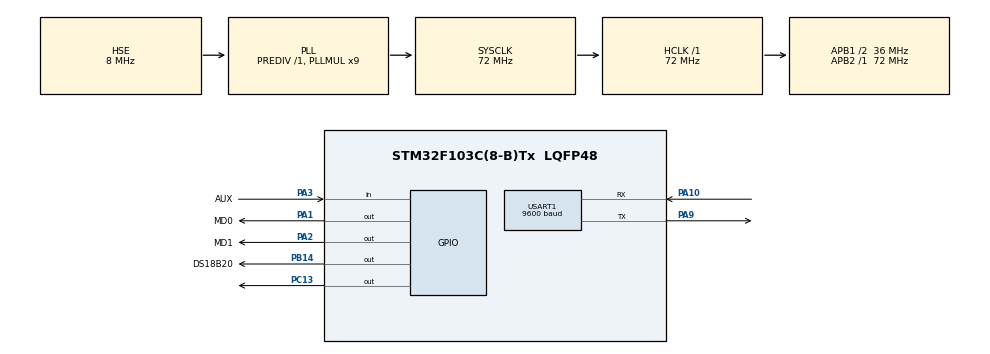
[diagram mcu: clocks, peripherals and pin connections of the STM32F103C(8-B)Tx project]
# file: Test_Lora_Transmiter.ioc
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Mcu.Family=STM32F1
Mcu.Name=STM32F103C(8-B)Tx
Mcu.Package=LQFP48
NVIC.PriorityGroup=NVIC_PRIORITYGROUP_4
NVIC.USART1_IRQn=true\:0\:0\:false\:false\:true\:true\:true\:true
PA1.GPIO_Label=MD0
PA1.Signal=GPIO_Output
PA10.Mode=Asynchronous
PA10.Signal=USART1_RX
PA13.Mode=Serial_Wire
PA13.Signal=SYS_JTMS-SWDIO
PA14.Mode=Serial_Wire
PA14.Signal=SYS_JTCK-SWCLK
PA2.GPIO_Label=MD1
PA2.Signal=GPIO_Output
PA3.GPIO_Label=AUX
PA3.Signal=GPIO_Input
PA9.Mode=Asynchronous
PA9.Signal=USART1_TX
PB14.GPIO_Label=DS18B20
PB14.Signal=GPIO_Output
PC13-TAMPER-RTC.Signal=GPIO_Output
PD0-OSC_IN.Mode=HSE-External-Oscillator
PD0-OSC_IN.Signal=RCC_OSC_IN
PD1-OSC_OUT.Mode=HSE-External-Oscillator
PD1-OSC_OUT.Signal=RCC_OSC_OUT
ProjectManager.HeapSize=0x200
ProjectManager.StackSize=0x400
ProjectManager.TargetToolchain=STM32CubeIDE
RCC.AHBFreq_Value=72000000
RCC.APB1CLKDivider=RCC_HCLK_DIV2
RCC.APB1Freq_Value=36000000
RCC.APB1TimFreq_Value=72000000
RCC.APB2Freq_Value=72000000
RCC.APB2TimFreq_Value=72000000
RCC.HCLKFreq_Value=72000000
RCC.PLLMUL=RCC_PLL_MUL9
RCC.PLLSourceVirtual=RCC_PLLSOURCE_HSE
RCC.SYSCLKFreq_VALUE=72000000
RCC.SYSCLKSource=RCC_SYSCLKSOURCE_PLLCLK
RCC.USBFreq_Value=72000000
TIM1.Period=0xFFFF-1
TIM1.Prescaler=72-1
TIM4.Period=0xFFFF-1
TIM4.Prescaler=72-1
USART1.BaudRate=9600
USART1.VirtualMode=VM_ASYNC
VP_TIM1_VS_ClockSourceINT.Mode=Internal
VP_TIM4_VS_ClockSourceINT.Mode=Internal
board=custom

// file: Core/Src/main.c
/* USER CODE BEGIN Header */
/**
  ******************************************************************************
  * @file           : main.c
  * @brief          : Main program body
  ******************************************************************************
  * @attention
  *
  * Copyright (c) 2022 STMicroelectronics.
  * All rights reserved.
  *
  * This software is licensed under terms that can be found in the LICENSE file
  * in the root directory of this software component.
  * If no LICENSE file comes with this software, it is provided AS-IS.
  *
  ******************************************************************************
  */
/* USER CODE END Header */
#include "main.h"

/* USER CODE BEGIN Includes */
#include "stdio.h"
#include "string.h"
#include "DS18B20.h"
#include "math.h"
/* USER CODE END Includes */

/* USER CODE BEGIN PTD */
typedef enum option_t{
	TRANSPARENT,
	POINT2POINT
} option_t;

typedef enum e32_lora_mode_t{
	GENERAL,
	POWER_SAVING,
	WAKE_UP,
	SLEEP
} e32_lora_mode_t;

typedef enum set_mode_state_t{
	SUCCESSED,
	FAILED
} set_mode_state_t;

/* USER CODE END PTD */

 TIM_HandleTypeDef htim1;
TIM_HandleTypeDef htim4;

UART_HandleTypeDef huart1;

/* USER CODE BEGIN PV */
	float temp;
	DS18B20_Name DS1;
	uint8_t temp_tenth, temp_unit, temp_decimal;

	set_mode_state_t state;
/* USER CODE END PV */

void SystemClock_Config(void);
static void MX_GPIO_Init(void);
static void MX_USART1_UART_Init(void);
static void MX_TIM1_Init(void);
static void MX_TIM4_Init(void);

/* USER CODE BEGIN 0 */

set_mode_state_t set_mode_e32_lora(e32_lora_mode_t mode,
					   GPIO_TypeDef *GPIOx_AUX, uint16_t GPIO_Pin_AUX,
					   GPIO_TypeDef *GPIOx_M0, uint16_t GPIO_Pin_M0,
					   GPIO_TypeDef *GPIOx_M1, uint16_t GPIO_Pin_M1
						)
{
	GPIO_PinState idle = HAL_GPIO_ReadPin(GPIOx_AUX, GPIO_Pin_AUX);
	/* Check idle state of module  */
	while(idle != GPIO_PIN_SET) // busy
	{

	};
	HAL_Delay(5);

	/* Set mode */
	if(idle == GPIO_PIN_SET)
	{
		switch(mode)
			{
				case GENERAL:
					HAL_GPIO_WritePin(GPIOx_M1, GPIO_Pin_M1, GPIO_PIN_RESET); // M1 = 0
					HAL_GPIO_WritePin(GPIOx_M0, GPIO_Pin_M0, GPIO_PIN_RESET); // M0 = 0
					HAL_Delay(10);

					break;
				case POWER_SAVING:
					HAL_GPIO_WritePin(GPIOx_M1, GPIO_Pin_M1, GPIO_PIN_RESET);// M1 = 0
					HAL_GPIO_WritePin(GPIOx_M0, GPIO_Pin_M0, GPIO_PIN_SET); // M0 = 1
					HAL_Delay(10);
					break;
				case WAKE_UP:
					HAL_GPIO_WritePin(GPIOx_M1, GPIO_Pin_M1, GPIO_PIN_SET); // M1 = 1
					HAL_GPIO_WritePin(GPIOx_M0, GPIO_Pin_M0, GPIO_PIN_RESET); // M0 = 0
					HAL_Delay(10);
					break;
				case SLEEP:
					HAL_GPIO_WritePin(GPIOx_M1, GPIO_Pin_M1, GPIO_PIN_SET); // M1 = 1
					HAL_GPIO_WritePin(GPIOx_M0, GPIO_Pin_M0, GPIO_PIN_SET); // M0 = 1
					HAL_Delay(10);

					break;
				default:
					HAL_GPIO_WritePin(GPIOx_M1, GPIO_Pin_M1, GPIO_PIN_RESET);
					HAL_GPIO_WritePin(GPIOx_M0, GPIO_Pin_M0, GPIO_PIN_RESET);
					HAL_Delay(10);
			}

	};

	/* wait 3ms for AUX high */
	while(idle != GPIO_PIN_SET)
		{

		};
	HAL_Delay(5);
	if (idle == GPIO_PIN_SET)
	{
		return SUCCESSED;
	}
	else
	{
		return FAILED;
	}
}

void config_e32_lora(UART_HandleTypeDef *huart, int baudrate,
					 uint8_t add_high_byte, uint8_t add_low_byte, option_t option)
{
	uint8_t SPEED;
	uint8_t OPTION;
	uint8_t ADDH = add_high_byte;
	uint8_t ADDL = add_low_byte;
	uint8_t reset_config_cmd[] = {0xC1, 0xC1, 0xC1};

	/* 433MHz */
	uint8_t CHAN = 0x17;

	/* Reset module Command */
	HAL_UART_Transmit(huart, reset_config_cmd, sizeof(reset_config_cmd), 100);
	HAL_Delay(10);

	switch(baudrate)
	{
		case 1200:
			SPEED = 0x02;
			break;
		case 2400:
			SPEED = 0x0A;
			break;
		case 4800:
			SPEED = 0x12;
			break;
		case 9600:
			SPEED = 0x1A;
			break;
		case 19200:
			SPEED = 0x22;
			break;
		case 38400:
			SPEED = 0x2A;
			break;
		case 57600:
			SPEED = 0x32;
			break;
		case 115200:
			SPEED = 0x3A;
			break;
		default:
			SPEED = 0x1A;
	};

	switch(option)
	{
		case TRANSPARENT:
			OPTION = 0x40 ;
			break;
		case POINT2POINT:
			OPTION = 0xC0;
			break;
		default:
			OPTION = 0x40;
	};

	uint8_t config_cmd[] = {0xC0, ADDH, ADDL, SPEED, CHAN, OPTION};

	/* Configure */

	HAL_UART_Transmit(huart, config_cmd, sizeof(config_cmd), 100);
	HAL_Delay(150);
}

/* USER CODE END 0 */

int main(void)
{

  /* MCU Configuration--------------------------------------------------------*/

  /* Reset of all peripherals, Initializes the Flash interface and the Systick. */
  HAL_Init();

  /* Configure the system clock */
  SystemClock_Config();

  /* Initialize all configured peripherals */
  MX_GPIO_Init();
  MX_USART1_UART_Init();
  MX_TIM1_Init();
  MX_TIM4_Init();
  /* USER CODE BEGIN 2 */

  state = set_mode_e32_lora(SLEEP, GPIOA, GPIO_PIN_3, GPIOA, GPIO_PIN_1, GPIOA, GPIO_PIN_2);

  while(state != SUCCESSED)
  {
	  state = set_mode_e32_lora(SLEEP, GPIOA, GPIO_PIN_3, GPIOA, GPIO_PIN_1, GPIOA, GPIO_PIN_2);
  }

  config_e32_lora(&huart1, 9600, 0x00, 0x05, POINT2POINT); // config

  set_mode_e32_lora(GENERAL, GPIOA, GPIO_PIN_3, GPIOA, GPIO_PIN_1, GPIOA, GPIO_PIN_2);

  //uint8_t Tx_Buffer[] = {0x00, 0x20, 0x17, 50, 80, 60};

  DS18B20_Init(&DS1, &htim4, DS18B20_GPIO_Port, DS18B20_Pin);
  /* USER CODE END 2 */

  /* Infinite loop */
  while (1)
  {

    /* USER CODE BEGIN 3 */
	 temp = DS18B20_ReadTemp(&DS1);
	 temp_tenth 	= ((int) temp)/10;
	 temp_unit  	= ((int) temp)%10;
	 temp_decimal 	= (int) ((temp - 10*temp_tenth - temp_unit)*10);
	 uint8_t Tx_Buffer[] = {0x00, 0x25, 0x17, temp_tenth + 48, temp_unit + 48, temp_decimal + 48};
	 HAL_UART_Transmit(&huart1, Tx_Buffer , sizeof(Tx_Buffer), 100);
	 HAL_Delay(50);

	 HAL_GPIO_TogglePin(GPIOC, GPIO_PIN_13);
	 HAL_Delay(2000);
  }
  /* USER CODE END 3 */
}

void SystemClock_Config(void)
{
  RCC_OscInitTypeDef RCC_OscInitStruct = {0};
  RCC_ClkInitTypeDef RCC_ClkInitStruct = {0};

  /** Initializes the RCC Oscillators according to the specified parameters
  * in the RCC_OscInitTypeDef structure.
  */
  RCC_OscInitStruct.OscillatorType = RCC_OSCILLATORTYPE_HSE;
  RCC_OscInitStruct.HSEState = RCC_HSE_ON;
  RCC_OscInitStruct.HSEPredivValue = RCC_HSE_PREDIV_DIV1;
  RCC_OscInitStruct.HSIState = RCC_HSI_ON;
  RCC_OscInitStruct.PLL.PLLState = RCC_PLL_ON;
  RCC_OscInitStruct.PLL.PLLSource = RCC_PLLSOURCE_HSE;
  RCC_OscInitStruct.PLL.PLLMUL = RCC_PLL_MUL9;
  if (HAL_RCC_OscConfig(&RCC_OscInitStruct) != HAL_OK)
  {
    Error_Handler();
  }

  /** Initializes the CPU, AHB and APB buses clocks
  */
  RCC_ClkInitStruct.ClockType = RCC_CLOCKTYPE_HCLK|RCC_CLOCKTYPE_SYSCLK
                              |RCC_CLOCKTYPE_PCLK1|RCC_CLOCKTYPE_PCLK2;
  RCC_ClkInitStruct.SYSCLKSource = RCC_SYSCLKSOURCE_PLLCLK;
  RCC_ClkInitStruct.AHBCLKDivider = RCC_SYSCLK_DIV1;
  RCC_ClkInitStruct.APB1CLKDivider = RCC_HCLK_DIV2;
  RCC_ClkInitStruct.APB2CLKDivider = RCC_HCLK_DIV1;

  if (HAL_RCC_ClockConfig(&RCC_ClkInitStruct, FLASH_LATENCY_2) != HAL_OK)
  {
    Error_Handler();
  }
}

static void MX_TIM1_Init(void)
{

  TIM_ClockConfigTypeDef sClockSourceConfig = {0};
  TIM_MasterConfigTypeDef sMasterConfig = {0};

  htim1.Instance = TIM1;
  htim1.Init.Prescaler = 72-1;
  htim1.Init.CounterMode = TIM_COUNTERMODE_UP;
  htim1.Init.Period = 0xFFFF-1;
  htim1.Init.ClockDivision = TIM_CLOCKDIVISION_DIV1;
  htim1.Init.RepetitionCounter = 0;
  htim1.Init.AutoReloadPreload = TIM_AUTORELOAD_PRELOAD_DISABLE;
  if (HAL_TIM_Base_Init(&htim1) != HAL_OK)
  {
    Error_Handler();
  }
  sClockSourceConfig.ClockSource = TIM_CLOCKSOURCE_INTERNAL;
  if (HAL_TIM_ConfigClockSource(&htim1, &sClockSourceConfig) != HAL_OK)
  {
    Error_Handler();
  }
  sMasterConfig.MasterOutputTrigger = TIM_TRGO_RESET;
  sMasterConfig.MasterSlaveMode = TIM_MASTERSLAVEMODE_DISABLE;
  if (HAL_TIMEx_MasterConfigSynchronization(&htim1, &sMasterConfig) != HAL_OK)
  {
    Error_Handler();
  }

}

static void MX_TIM4_Init(void)
{

  TIM_ClockConfigTypeDef sClockSourceConfig = {0};
  TIM_MasterConfigTypeDef sMasterConfig = {0};

  htim4.Instance = TIM4;
  htim4.Init.Prescaler = 72-1;
  htim4.Init.CounterMode = TIM_COUNTERMODE_UP;
  htim4.Init.Period = 0xFFFF-1;
  htim4.Init.ClockDivision = TIM_CLOCKDIVISION_DIV1;
  htim4.Init.AutoReloadPreload = TIM_AUTORELOAD_PRELOAD_DISABLE;
  if (HAL_TIM_Base_Init(&htim4) != HAL_OK)
  {
    Error_Handler();
  }
  sClockSourceConfig.ClockSource = TIM_CLOCKSOURCE_INTERNAL;
  if (HAL_TIM_ConfigClockSource(&htim4, &sClockSourceConfig) != HAL_OK)
  {
    Error_Handler();
  }
  sMasterConfig.MasterOutputTrigger = TIM_TRGO_RESET;
  sMasterConfig.MasterSlaveMode = TIM_MASTERSLAVEMODE_DISABLE;
  if (HAL_TIMEx_MasterConfigSynchronization(&htim4, &sMasterConfig) != HAL_OK)
  {
    Error_Handler();
  }

}

static void MX_USART1_UART_Init(void)
{

  huart1.Instance = USART1;
  huart1.Init.BaudRate = 9600;
  huart1.Init.WordLength = UART_WORDLENGTH_8B;
  huart1.Init.StopBits = UART_STOPBITS_1;
  huart1.Init.Parity = UART_PARITY_NONE;
  huart1.Init.Mode = UART_MODE_TX_RX;
  huart1.Init.HwFlowCtl = UART_HWCONTROL_NONE;
  huart1.Init.OverSampling = UART_OVERSAMPLING_16;
  if (HAL_UART_Init(&huart1) != HAL_OK)
  {
    Error_Handler();
  }

}

static void MX_GPIO_Init(void)
{
  GPIO_InitTypeDef GPIO_InitStruct = {0};

  /* GPIO Ports Clock Enable */
  __HAL_RCC_GPIOC_CLK_ENABLE();
  __HAL_RCC_GPIOD_CLK_ENABLE();
  __HAL_RCC_GPIOA_CLK_ENABLE();
  __HAL_RCC_GPIOB_CLK_ENABLE();

  /*Configure GPIO pin Output Level */
  HAL_GPIO_WritePin(GPIOC, GPIO_PIN_13, GPIO_PIN_RESET);

  /*Configure GPIO pin Output Level */
  HAL_GPIO_WritePin(GPIOA, MD0_Pin|MD1_Pin, GPIO_PIN_RESET);

  /*Configure GPIO pin Output Level */
  HAL_GPIO_WritePin(DS18B20_GPIO_Port, DS18B20_Pin, GPIO_PIN_RESET);

  /*Configure GPIO pin : PC13 */
  GPIO_InitStruct.Pin = GPIO_PIN_13;
  GPIO_InitStruct.Mode = GPIO_MODE_OUTPUT_PP;
  GPIO_InitStruct.Pull = GPIO_NOPULL;
  GPIO_InitStruct.Speed = GPIO_SPEED_FREQ_LOW;
  HAL_GPIO_Init(GPIOC, &GPIO_InitStruct);

  /*Configure GPIO pins : MD0_Pin MD1_Pin */
  GPIO_InitStruct.Pin = MD0_Pin|MD1_Pin;
  GPIO_InitStruct.Mode = GPIO_MODE_OUTPUT_PP;
  GPIO_InitStruct.Pull = GPIO_NOPULL;
  GPIO_InitStruct.Speed = GPIO_SPEED_FREQ_LOW;
  HAL_GPIO_Init(GPIOA, &GPIO_InitStruct);

  /*Configure GPIO pin : AUX_Pin */
  GPIO_InitStruct.Pin = AUX_Pin;
  GPIO_InitStruct.Mode = GPIO_MODE_INPUT;
  GPIO_InitStruct.Pull = GPIO_NOPULL;
  HAL_GPIO_Init(AUX_GPIO_Port, &GPIO_InitStruct);

  /*Configure GPIO pin : DS18B20_Pin */
  GPIO_InitStruct.Pin = DS18B20_Pin;
  GPIO_InitStruct.Mode = GPIO_MODE_OUTPUT_PP;
  GPIO_InitStruct.Pull = GPIO_NOPULL;
  GPIO_InitStruct.Speed = GPIO_SPEED_FREQ_LOW;
  HAL_GPIO_Init(DS18B20_GPIO_Port, &GPIO_InitStruct);

}

void Error_Handler(void)
{
  __disable_irq();
  while (1)
  {
  }
}
